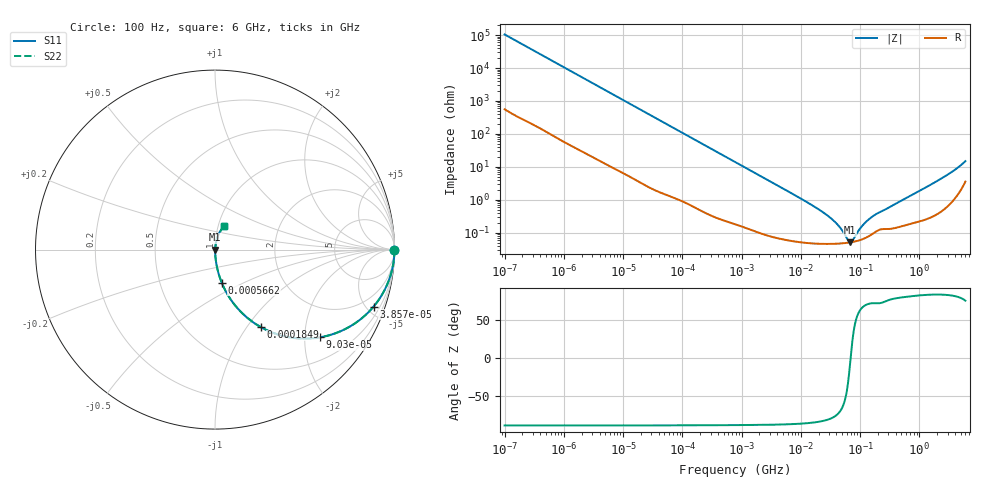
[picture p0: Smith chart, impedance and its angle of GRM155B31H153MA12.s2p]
!Murata Part Number: GRM155B31H153MA12
!These Parameters are Measured in Series Mode Connection
!Data Generated on Mar 30, 2021
!  o--ll--o
!Port1  Port2
!  o------o
!Operation Temp=25[degC], DC Bias Voltage=0[V]
!Freq. Start=100[Hz] Stop=6[GHz] 401[Steps]
# Hz S RI R 50
!Freq.(Hz) S11(Real) S11(Imag) S21(Real) S21(Imag) S12(Real) S12(Imag) S22(Real) S22(Imag)
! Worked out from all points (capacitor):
!   401 points, 100 Hz to 6 GHz, reference 50 ohm
!   read as one part in series: C = 15.2 nF near 109 Hz
!   lowest |Z| = 50.7 mohm at 68.17 MHz (marker M1)
!   series resonance near 69.31 MHz, so ESL is about 350 pH
!   S11 on the Smith chart (normalised r, x): 100 Hz: open; 38.57 kHz: 1.04, -5.54; 90.3 kHz: 1.02, -2.38; 184.9 kHz: 1.01, -1.17; 566.2 kHz: 1.00, -0.38; 6 GHz: 1.07, +0.29
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100  1 -0.000955  6e-06 0.000955  6e-06 0.000955  1 -0.000955
2008  0.9995 -0.019  0.000467 0.019  0.000467 0.019  0.9995 -0.019
11009  0.9888 -0.1022  0.0112 0.1022  0.0112 0.1022  0.9888 -0.1022
38569  0.8832 -0.318  0.1168 0.318  0.1168 0.318  0.8832 -0.318
40335  0.8738 -0.3289  0.1262 0.3289  0.1262 0.3289  0.8738 -0.3289
90302  0.5846 -0.4887  0.4154 0.4887  0.4154 0.4887  0.5846 -0.4887
184852  0.2554 -0.4317  0.7446 0.4317  0.7446 0.4317  0.2554 -0.4317
302498  0.1153 -0.3147  0.8847 0.3147  0.8847 0.3147  0.1153 -0.3147
566185  0.0372 -0.1837  0.9628 0.1837  0.9628 0.1837  0.0372 -0.1837
774597  0.0209 -0.1369  0.9791 0.1369  0.9791 0.1369  0.0209 -0.1369
2481164  0.00279 -0.0439  0.9972 0.0439  0.9972 0.0439  0.00279 -0.0439
1.555665e7  0.000514 -0.00674  0.9995 0.00674  0.9995 0.00674  0.000514 -0.00674
3.64232e7  0.000461 -0.0022  0.9995 0.0022  0.9995 0.0022  0.000461 -0.0022
4.764863e7  0.00047 -0.00122  0.9995 0.00122  0.9995 0.00122  0.00047 -0.00122
6.233367e7  0.000492 -0.000338  0.9995 0.000338  0.9995 0.000338  0.000492 -0.000338
6.817316e7  0.000504 -5.2e-05  0.9995 5.2e-05  0.9995 5.2e-05  0.000504 -5.2e-05
7.455971e7  0.000519 0.000233  0.9995 -0.000233  0.9995 -0.000233  0.000519 0.000233
1.020051e8  0.000602 0.00126  0.9994 -0.00126  0.9994 -0.00126  0.000602 0.00126
1.395531e8  0.000776 0.00238  0.9992 -0.00238  0.9992 -0.00238  0.000776 0.00238
3.124326e8  0.00132 0.00573  0.9987 -0.00573  0.9987 -0.00573  0.00132 0.00573
2.240541e9  0.0058 0.0411  0.9942 -0.0411  0.9942 -0.0411  0.0058 0.0411
6e9  0.0527 0.1321  0.9473 -0.1321  0.9473 -0.1321  0.0527 0.1321
